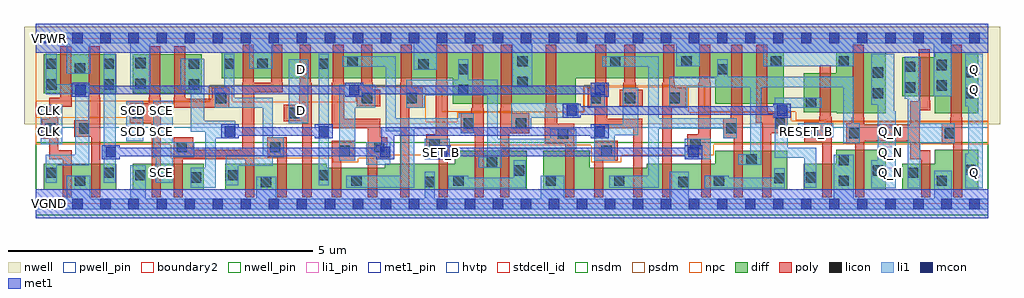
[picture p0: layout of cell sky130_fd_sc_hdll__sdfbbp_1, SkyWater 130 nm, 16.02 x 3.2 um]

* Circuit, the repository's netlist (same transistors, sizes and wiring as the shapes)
* Copyright 2020 The SkyWater PDK Authors
*
* Licensed under the Apache License, Version 2.0 (the "License");
* you may not use this file except in compliance with the License.
* You may obtain a copy of the License at
*
*     https://www.apache.org/licenses/LICENSE-2.0
*
* Unless required by applicable law or agreed to in writing, software
* distributed under the License is distributed on an "AS IS" BASIS,
* WITHOUT WARRANTIES OR CONDITIONS OF ANY KIND, either express or implied.
* See the License for the specific language governing permissions and
* limitations under the License.
*
* SPDX-License-Identifier: Apache-2.0

.SUBCKT sky130_fd_sc_hdll__sdfbbp_1 CLK D RESET_B SCD SCE SET_B VGND VNB VPB VPWR Q Q_N
*.PININFO CLK:I D:I RESET_B:I SCD:I SCE:I SET_B:I VGND:I VNB:I VPB:I
*.PININFO VPWR:I Q:O Q_N:O
MI98 net105 D n0 VNB sky130_fd_pr__nfet_01v8 m=1 w=0.42U l=0.15U mult=1 sa=0.265
+ sb=0.265 sd=0.28 area=0.525 perim=3.1
MI103 n1 SCD VGND VNB sky130_fd_pr__nfet_01v8 m=1 w=0.42U l=0.15U mult=1 sa=0.265
+ sb=0.265 sd=0.28 area=0.525 perim=3.1
MI104 n0 sceb VGND VNB sky130_fd_pr__nfet_01v8 m=1 w=0.42U l=0.15U mult=1 sa=0.265
+ sb=0.265 sd=0.28 area=0.525 perim=3.1
MI120 net105 SCE n1 VNB sky130_fd_pr__nfet_01v8 m=1 w=0.42U l=0.15U mult=1 sa=0.265
+ sb=0.265 sd=0.28 area=0.525 perim=3.1
MI46 clkpos clkneg VGND VNB sky130_fd_pr__nfet_01v8 m=1 w=0.42U l=0.15U mult=1
+ sa=0.265 sb=0.265 sd=0.28 area=0.063 perim=1.14
MI642 RESET RESET_B VGND VNB sky130_fd_pr__nfet_01v8 m=1 w=0.42U l=0.15U mult=1
+ sa=0.265 sb=0.265 sd=0.28 area=0.063 perim=1.14
MI676 M1 M0 net176 VNB sky130_fd_pr__nfet_01v8 m=1 w=0.64U l=0.15U mult=1 sa=0.265
+ sb=0.265 sd=0.28 area=0.063 perim=1.14
MI675 net176 SET_B VGND VNB sky130_fd_pr__nfet_01v8 m=1 w=0.42U l=0.15U mult=1
+ sa=0.265 sb=0.265 sd=0.28 area=0.063 perim=1.14
MI653 Q net213 VGND VNB sky130_fd_pr__nfet_01v8 m=1 w=0.65U l=0.15U mult=1 sa=0.265
+ sb=0.265 sd=0.28 area=0.063 perim=1.14
MI677 M1 RESET net176 VNB sky130_fd_pr__nfet_01v8 m=1 w=0.64U l=0.15U mult=1 sa=0.265
+ sb=0.265 sd=0.28 area=0.063 perim=1.14
MI648 M0 clkpos net160 VNB sky130_fd_pr__nfet_01v8 m=1 w=0.36U l=0.15U mult=1 sa=0.265
+ sb=0.265 sd=0.28 area=0.063 perim=1.14
MI44 clkneg CLK VGND VNB sky130_fd_pr__nfet_01v8 m=1 w=0.42U l=0.15U mult=1 sa=0.265
+ sb=0.265 sd=0.28 area=0.063 perim=1.14
MI649 net160 M1 VGND VNB sky130_fd_pr__nfet_01v8 m=1 w=0.42U l=0.15U mult=1 sa=0.265
+ sb=0.265 sd=0.28 area=0.063 perim=1.14
MI655 S0 clkneg net145 VNB sky130_fd_pr__nfet_01v8 m=1 w=0.36U l=0.15U mult=1 sa=0.265
+ sb=0.265 sd=0.28 area=0.063 perim=1.14
MI654 net145 net117 VGND VNB sky130_fd_pr__nfet_01v8 m=1 w=0.42U l=0.15U mult=1
+ sa=0.265 sb=0.265 sd=0.28 area=0.063 perim=1.14
MI651 Q_N net117 VGND VNB sky130_fd_pr__nfet_01v8 m=1 w=0.65U l=0.15U mult=1 sa=0.265
+ sb=0.265 sd=0.28 area=0.063 perim=1.14
MI652 net213 net117 VGND VNB sky130_fd_pr__nfet_01v8 m=1 w=0.42U l=0.15U mult=1
+ sa=0.265 sb=0.265 sd=0.28 area=0.063 perim=1.14
MI42 net105 clkneg M0 VNB sky130_fd_pr__nfet_01v8 m=1 w=0.36U l=0.15U mult=1 sa=0.265
+ sb=0.265 sd=0.28 area=0.063 perim=1.14
MI668 S0 clkpos net128 VNB sky130_fd_pr__nfet_01v8 m=1 w=0.36U l=0.15U mult=1 sa=0.265
+ sb=0.265 sd=0.28 area=0.063 perim=1.14
MI667 net128 M1 VGND VNB sky130_fd_pr__nfet_01v8 m=1 w=0.64U l=0.15U mult=1 sa=0.265
+ sb=0.265 sd=0.28 area=0.063 perim=1.14
MI630 net117 RESET net116 VNB sky130_fd_pr__nfet_01v8 m=1 w=0.64U l=0.15U mult=1
+ sa=0.265 sb=0.265 sd=0.28 area=0.063 perim=1.14
MI3 net117 S0 net116 VNB sky130_fd_pr__nfet_01v8 m=1 w=0.64U l=0.15U mult=1 sa=0.265
+ sb=0.265 sd=0.28 area=0.063 perim=1.14
MI7 net116 SET_B VGND VNB sky130_fd_pr__nfet_01v8 m=1 w=0.42U l=0.15U mult=1 sa=0.265
+ sb=0.265 sd=0.28 area=0.063 perim=1.14
MI639 sceb SCE VGND VNB sky130_fd_pr__nfet_01v8 m=1 w=0.42U l=0.15U mult=1 sa=0.265
+ sb=0.265 sd=0.28 area=0.063 perim=1.14
MI107 p0 SCE VPWR VPB sky130_fd_pr__pfet_01v8_hvt m=1 w=0.42U l=0.18U mult=1 sa=0.265
+ sb=0.265 sd=0.28 area=0.063 perim=1.14
MI94 net105 D p0 VPB sky130_fd_pr__pfet_01v8_hvt m=1 w=0.42U l=0.18U mult=1 sa=0.265
+ sb=0.265 sd=0.28 area=0.063 perim=1.14
MI101 net105 sceb p1 VPB sky130_fd_pr__pfet_01v8_hvt m=1 w=0.64U l=0.18U mult=1
+ sa=0.265 sb=0.265 sd=0.28 area=0.063 perim=1.14
MI108 p1 SCD VPWR VPB sky130_fd_pr__pfet_01v8_hvt m=1 w=0.64U l=0.18U mult=1 sa=0.265
+ sb=0.265 sd=0.28 area=0.063 perim=1.14
MI679 M1 SET_B VPWR VPB sky130_fd_pr__pfet_01v8_hvt m=1 w=0.42U l=0.18U mult=1
+ sa=0.265 sb=0.265 sd=0.28 area=0.063 perim=1.14
MI669 S0 clkneg net265 VPB sky130_fd_pr__pfet_01v8_hvt m=1 w=0.42U l=0.18U mult=1
+ sa=0.265 sb=0.265 sd=0.28 area=0.063 perim=1.14
MI660 Q net213 VPWR VPB sky130_fd_pr__pfet_01v8_hvt m=1 w=1.0U l=0.18U mult=1 sa=0.265
+ sb=0.265 sd=0.28 area=0.063 perim=1.14
MI9 net117 S0 net268 VPB sky130_fd_pr__pfet_01v8_hvt m=1 w=0.84U l=0.18U mult=1
+ sa=0.265 sb=0.265 sd=0.28 area=0.063 perim=1.14
MI670 net265 M1 VPWR VPB sky130_fd_pr__pfet_01v8_hvt m=1 w=0.84U l=0.18U mult=1
+ sa=0.265 sb=0.265 sd=0.28 area=0.063 perim=1.14
MI678 net216 RESET VPWR VPB sky130_fd_pr__pfet_01v8_hvt m=1 w=0.84U l=0.18U mult=1
+ sa=0.265 sb=0.265 sd=0.28 area=0.063 perim=1.14
MI662 net257 net117 VPWR VPB sky130_fd_pr__pfet_01v8_hvt m=1 w=0.42U l=0.18U mult=1
+ sa=0.265 sb=0.265 sd=0.28 area=0.063 perim=1.14
MI664 S0 clkpos net257 VPB sky130_fd_pr__pfet_01v8_hvt m=1 w=0.42U l=0.18U mult=1
+ sa=0.265 sb=0.265 sd=0.28 area=0.063 perim=1.14
MI10 net117 SET_B VPWR VPB sky130_fd_pr__pfet_01v8_hvt m=1 w=0.42U l=0.18U mult=1
+ sa=0.265 sb=0.265 sd=0.28 area=0.063 perim=1.14
MI11 net268 RESET VPWR VPB sky130_fd_pr__pfet_01v8_hvt m=1 w=0.84U l=0.18U mult=1
+ sa=0.265 sb=0.265 sd=0.28 area=0.063 perim=1.14
MI650 net241 M1 VPWR VPB sky130_fd_pr__pfet_01v8_hvt m=1 w=0.42U l=0.18U mult=1
+ sa=0.265 sb=0.265 sd=0.28 area=0.063 perim=1.14
MI43 net105 clkpos M0 VPB sky130_fd_pr__pfet_01v8_hvt m=1 w=0.42U l=0.18U mult=1
+ sa=0.265 sb=0.265 sd=0.28 area=0.063 perim=1.14
MI656 M0 clkneg net241 VPB sky130_fd_pr__pfet_01v8_hvt m=1 w=0.42U l=0.18U mult=1
+ sa=0.265 sb=0.265 sd=0.28 area=0.063 perim=1.14
MI643 RESET RESET_B VPWR VPB sky130_fd_pr__pfet_01v8_hvt m=1 w=0.64U l=0.18U mult=1
+ sa=0.265 sb=0.265 sd=0.28 area=0.063 perim=1.14
MI47 clkpos clkneg VPWR VPB sky130_fd_pr__pfet_01v8_hvt m=1 w=0.64U l=0.18U mult=1
+ sa=0.265 sb=0.265 sd=0.28 area=0.063 perim=1.14
MI45 clkneg CLK VPWR VPB sky130_fd_pr__pfet_01v8_hvt m=1 w=0.64U l=0.18U mult=1
+ sa=0.265 sb=0.265 sd=0.28 area=0.063 perim=1.14
MI680 M1 M0 net216 VPB sky130_fd_pr__pfet_01v8_hvt m=1 w=0.84U l=0.18U mult=1 sa=0.265
+ sb=0.265 sd=0.28 area=0.063 perim=1.14
MI663 net213 net117 VPWR VPB sky130_fd_pr__pfet_01v8_hvt m=1 w=0.64U l=0.18U mult=1
+ sa=0.265 sb=0.265 sd=0.28 area=0.063 perim=1.14
MI661 Q_N net117 VPWR VPB sky130_fd_pr__pfet_01v8_hvt m=1 w=1.0U l=0.18U mult=1
+ sa=0.265 sb=0.265 sd=0.28 area=0.063 perim=1.14
MI640 sceb SCE VPWR VPB sky130_fd_pr__pfet_01v8_hvt m=1 w=0.42U l=0.18U mult=1
+ sa=0.265 sb=0.265 sd=0.28 area=0.063 perim=1.14
.ENDS sky130_fd_sc_hdll__sdfbbp_1

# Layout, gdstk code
import gdstk
lib = gdstk.Library(unit=1e-6, precision=1e-09)
def R(c, l, rs):  # rectangles x0, y0, x1, y1
    for r in rs: c.add(gdstk.rectangle(r[:2], r[2:], *l))
def A(c, l, x, y, w, h, nx, ny, dx, dy):  # array of equal rectangles
    R(c, l, [(x+i*dx, y+j*dy, x+i*dx+w, y+j*dy+h) for i in range(nx) for j in range(ny)])
def P(c, l, *ps):  # polygons
    for p in ps: c.add(gdstk.Polygon(p, *l))
nwell_pin = (64, 16)
nwell = (64, 20)
diff = (65, 20)
poly = (66, 20)
licon = (66, 44)
li1_pin = (67, 16)
li1 = (67, 20)
mcon = (67, 44)
met1_pin = (68, 16)
met1 = (68, 20)
hvtp = (78, 44)
stdcell_id = (81, 4)
nsdm = (93, 44)
psdm = (94, 20)
npc = (95, 20)
pwell_pin = (122, 16)
boundary2 = (236, 0)

sky130_fd_sc_hdll__sdfbb = lib.new_cell('sky130_fd_sc_hdll__sdfbbp_1')
R(sky130_fd_sc_hdll__sdfbb, nwell_pin, [(0.145,2.635,0.315,2.805), (0.145,2.635,0.315,2.805)])
R(sky130_fd_sc_hdll__sdfbb, nwell, [(-0.19,1.305,15.83,2.91)])
R(sky130_fd_sc_hdll__sdfbb, diff, [(0.135,0.235,1.325,0.655), (1.595,0.235,2.76,0.655), (0.135,1.815,1.325,2.455), (1.595,1.815,2.725,2.455)])
P(sky130_fd_sc_hdll__sdfbb, diff, [(15.47,0.885),(14.76,0.885),(14.76,0.655),(14.225,0.655),(14.225,0.235),(15.47,0.235)],
  [(15.47,2.485),(14.76,2.485),(14.76,2.405),(14.225,2.405),(14.225,1.765),(14.76,1.765),(14.76,1.485),(15.47,1.485)],
  [(13.955,0.885),(13.14,0.885),(13.14,0.655),(12.605,0.655),(12.605,0.235),(13.955,0.235)],
  [(8.06,0.875),(6.88,0.875),(6.88,0.655),(5.73,0.655),(5.73,0.595),(4.78,0.595),(4.78,0.655),(3.115,0.655),(3.115,0.235),(8.06,0.235)],
  [(13.955,2.485),(13.14,2.485),(13.14,2.145),(12.605,2.145),(12.605,1.505),(13.15,1.505),(13.15,1.485),(13.955,1.485)],
  [(12.28,2.485),(3.055,2.485),(3.055,2.065),(6.845,2.065),(6.845,1.645),(8.87,1.645),(8.87,2.065),(11.155,2.065),(11.155,1.645),(12.28,1.645)],
  [(12.335,0.875),(11.155,0.875),(11.155,0.655),(10.035,0.655),(10.035,0.595),(9.095,0.595),(9.095,0.875),(8.33,0.875),(8.33,0.235),(12.335,0.235)])
P(sky130_fd_sc_hdll__sdfbb, poly, [(0.595,1.74),(0.585,1.74),(0.585,2.585),(0.405,2.585),(0.405,1.74),(0.225,1.74),(0.225,1.4),(0.105,1.4),(0.105,1.07),(0.225,1.07),(0.225,0.73),(0.445,0.73),(0.445,0.105),(0.595,0.105),(0.595,0.88),(0.375,0.88),(0.375,1.59),(0.595,1.59)],
  [(1.065,1.74),(1.055,1.74),(1.055,2.585),(0.875,2.585),(0.875,1.74),(0.865,1.74),(0.865,1.37),(0.635,1.37),(0.635,1.1),(0.915,1.1),(0.915,0.105),(1.065,0.105)],
  [(2.055,1.74),(2.045,1.74),(2.045,2.585),(1.865,2.585),(1.865,1.74),(1.855,1.74),(1.855,1.655),(1.545,1.655),(1.545,1.325),(1.905,1.325),(1.905,0.105),(2.055,0.105)],
  [(3.18,1.905),(2.895,1.905),(2.895,1.725),(2.465,1.725),(2.465,1.74),(2.455,1.74),(2.455,2.585),(2.275,2.585),(2.275,1.74),(2.265,1.74),(2.265,1.575),(3.18,1.575)],
  [(4.06,1.99),(4.05,1.99),(4.05,2.615),(3.87,2.615),(3.87,1.99),(3.86,1.99),(3.86,1.985),(3.59,1.985),(3.59,1.99),(3.58,1.99),(3.58,2.615),(3.4,2.615),(3.4,1.99),(3.39,1.99),(3.39,0.885),(2.585,0.885),(2.585,1.095),(2.265,1.095),(2.265,0.105),(2.415,0.105),(2.415,0.735),(3.44,0.735),(3.44,0.105),(3.59,0.105),(3.59,1.835),(4.06,1.835)],
  [(4.12,1.095),(3.8,1.095),(3.8,0.765),(3.97,0.765),(3.97,0.105),(4.12,0.105)],
  [(4.53,1.99),(4.52,1.99),(4.52,2.615),(4.34,2.615),(4.34,1.99),(4.33,1.99),(4.33,1.625),(4.075,1.625),(4.075,1.355),(4.38,1.355),(4.38,0.105),(4.53,0.105)],
  [(5.245,1.035),(4.865,1.035),(4.865,0.105),(5.015,0.105),(5.015,0.705),(5.245,0.705)],
  [(5.655,1.875),(5.535,1.875),(5.535,1.99),(5.525,1.99),(5.525,2.615),(5.345,2.615),(5.345,1.99),(5.335,1.99),(5.335,1.875),(5.275,1.875),(5.275,1.605),(5.655,1.605)],
  [(5.775,1.095),(5.655,1.095),(5.655,1.395),(5.065,1.395),(5.065,1.99),(5.055,1.99),(5.055,2.615),(4.875,2.615),(4.875,1.99),(4.865,1.99),(4.865,1.245),(5.455,1.245),(5.455,0.105),(5.605,0.105),(5.605,0.765),(5.775,0.765)],
  [(6.355,1.905),(6.185,1.905),(6.185,1.99),(6.175,1.99),(6.175,2.615),(5.995,2.615),(5.995,1.99),(5.985,1.99),(5.985,0.105),(6.135,0.105),(6.135,1.575),(6.355,1.575)],
  [(6.765,1.99),(6.755,1.99),(6.755,2.615),(6.575,2.615),(6.575,1.99),(6.565,1.99),(6.565,1.145),(6.415,1.145),(6.415,0.815),(6.615,0.815),(6.615,0.105),(6.765,0.105)],
  [(7.355,1.57),(7.345,1.57),(7.345,2.615),(7.165,2.615),(7.165,1.57),(7.155,1.57),(7.155,1.485),(6.975,1.485),(6.975,1.155),(7.205,1.155),(7.205,0.105),(7.355,0.105)],
  [(8.105,1.485),(7.825,1.485),(7.825,1.57),(7.815,1.57),(7.815,2.615),(7.635,2.615),(7.635,1.57),(7.625,1.57),(7.625,0.105),(7.775,0.105),(7.775,1.155),(8.105,1.155)],
  [(8.845,1.315),(8.56,1.315),(8.56,1.57),(8.55,1.57),(8.55,2.615),(8.37,2.615),(8.37,1.57),(8.36,1.57),(8.36,0.985),(8.695,0.985),(8.695,0.105),(8.845,0.105)],
  [(9.555,1.035),(9.17,1.035),(9.17,0.105),(9.32,0.105),(9.32,0.705),(9.555,0.705)],
  [(9.96,1.395),(9.38,1.395),(9.38,1.99),(9.37,1.99),(9.37,2.615),(9.19,2.615),(9.19,1.99),(9.18,1.99),(9.18,1.905),(9.06,1.905),(9.06,1.575),(9.18,1.575),(9.18,1.245),(9.81,1.245),(9.81,0.105),(9.96,0.105)],
  [(9.97,1.875),(9.85,1.875),(9.85,1.99),(9.84,1.99),(9.84,2.615),(9.66,2.615),(9.66,1.99),(9.65,1.99),(9.65,1.875),(9.59,1.875),(9.59,1.605),(9.97,1.605)],
  [(10.67,1.905),(10.49,1.905),(10.49,1.99),(10.48,1.99),(10.48,2.615),(10.3,2.615),(10.3,1.99),(10.29,1.99),(10.29,0.105),(10.44,0.105),(10.44,1.575),(10.67,1.575)],
  [(11.08,1.99),(11.07,1.99),(11.07,2.615),(10.89,2.615),(10.89,1.99),(10.88,1.99),(10.88,1.145),(10.695,1.145),(10.695,0.815),(10.93,0.815),(10.93,0.105),(11.08,0.105)],
  [(11.61,1.57),(11.6,1.57),(11.6,2.615),(11.42,2.615),(11.42,1.57),(11.41,1.57),(11.41,1.405),(11.29,1.405),(11.29,1.075),(11.46,1.075),(11.46,0.105),(11.61,0.105)],
  [(12.35,1.485),(12.02,1.485),(12.02,1.57),(12.01,1.57),(12.01,2.615),(11.83,2.615),(11.83,1.57),(11.82,1.57),(11.82,1.335),(11.925,1.335),(11.925,0.105),(12.075,0.105),(12.075,1.155),(12.35,1.155)],
  [(13.065,1.43),(13.055,1.43),(13.055,2.275),(12.875,2.275),(12.875,1.43),(12.865,1.43),(12.865,1.345),(12.615,1.345),(12.615,1.015),(12.915,1.015),(12.915,0.105),(13.065,0.105)],
  [(14.685,1.69),(14.675,1.69),(14.675,2.535),(14.495,2.535),(14.495,1.69),(14.485,1.69),(14.485,1.685),(14.36,1.685),(14.36,1.295),(13.6,1.295),(13.6,1.41),(13.59,1.41),(13.59,2.615),(13.41,2.615),(13.41,1.41),(13.4,1.41),(13.4,1.325),(13.305,1.325),(13.305,0.995),(13.45,0.995),(13.45,0.105),(13.6,0.105),(13.6,1.025),(14.36,1.025),(14.36,0.73),(14.535,0.73),(14.535,0.105),(14.685,0.105),(14.685,0.88),(14.51,0.88),(14.51,1.535),(14.685,1.535)],
  [(15.21,1.41),(15.2,1.41),(15.2,2.615),(15.02,2.615),(15.02,1.41),(15.01,1.41),(15.01,1.325),(14.87,1.325),(14.87,0.995),(15.06,0.995),(15.06,0.105),(15.21,0.105)])
R(sky130_fd_sc_hdll__sdfbb, licon, [(3.7,0.275,3.87,0.445), (6.385,0.275,6.555,0.445), (10.55,0.275,10.72,0.445), (0.645,0.295,0.815,0.465), (5.18,0.295,5.35,0.465), (6.855,0.295,7.025,0.465), (8.37,0.295,8.54,0.465), (9.495,0.295,9.665,0.465), (11.13,0.295,11.3,0.465), (13.18,0.295,13.35,0.465), (14.79,0.295,14.96,0.465), (12.125,0.335,12.295,0.505), (2.55,0.345,2.72,0.515), (12.645,0.345,12.815,0.515), (1.635,0.385,1.805,0.555), (3.155,0.385,3.325,0.555), (4.645,0.385,4.815,0.555), (0.175,0.425,0.345,0.595), (1.115,0.425,1.285,0.595), (14.315,0.425,14.485,0.595), (7.85,0.465,8.02,0.635), (13.745,0.465,13.915,0.635), (15.26,0.475,15.43,0.645), (7.405,0.595,7.575,0.765), (13.18,0.635,13.35,0.805), (11.665,0.645,11.835,0.815), (4.985,0.785,5.155,0.955), (9.285,0.785,9.455,0.955), (2.315,0.845,2.485,1.015), (3.85,0.845,4.02,1.015), (5.555,0.845,5.725,1.015), (6.465,0.895,6.635,1.065), (10.745,0.895,10.915,1.065), (8.575,1.065,8.745,1.235), (13.355,1.075,13.525,1.245), (14.92,1.075,15.09,1.245), (12.665,1.095,12.835,1.265), (0.155,1.15,0.325,1.32), (0.715,1.15,0.885,1.32), (11.34,1.155,11.51,1.325), (7.025,1.235,7.195,1.405), (7.885,1.235,8.055,1.405), (12.13,1.235,12.3,1.405), (1.595,1.405,1.765,1.575), (4.155,1.405,4.325,1.575), (12.645,1.575,12.815,1.745), (2.96,1.655,3.13,1.825), (5.355,1.655,5.525,1.825), (6.085,1.655,6.255,1.825), (9.11,1.655,9.28,1.825), (9.67,1.655,9.84,1.825), (10.4,1.655,10.57,1.825), (13.745,1.73,13.915,1.9), (15.26,1.735,15.43,1.905), (6.935,1.785,7.105,1.955), (14.265,1.825,14.435,1.995), (14.79,1.855,14.96,2.025), (0.175,1.875,0.345,2.045), (1.115,1.875,1.285,2.045), (2.515,1.875,2.685,2.045), (1.635,1.885,1.805,2.055), (7.905,1.915,8.075,2.085), (13.745,2.07,13.915,2.24), (15.26,2.075,15.43,2.245), (6.935,2.125,7.105,2.295), (11.19,2.125,11.36,2.295), (0.645,2.135,0.815,2.305), (14.265,2.165,14.435,2.335), (14.79,2.195,14.96,2.365), (6.285,2.205,6.455,2.375), (0.175,2.215,0.345,2.385), (1.115,2.215,1.285,2.385), (2.515,2.215,2.685,2.385), (3.095,2.215,3.265,2.385), (3.64,2.215,3.81,2.385), (4.645,2.215,4.815,2.385), (1.635,2.225,1.805,2.395), (5.115,2.25,5.285,2.42), (9.43,2.25,9.6,2.42), (7.905,2.255,8.075,2.425), (10.6,2.255,10.77,2.425), (12.07,2.255,12.24,2.425), (13.18,2.255,13.35,2.425)])
A(sky130_fd_sc_hdll__sdfbb, li1_pin, 13.945, 0.425, 0.17, 0.17, 1, 3, 0, 0.34)
R(sky130_fd_sc_hdll__sdfbb, li1_pin, [(0.145,-0.085,0.315,0.085), (1.985,0.425,2.155,0.595), (15.325,0.425,15.495,0.595), (0.145,1.105,0.315,1.275), (1.525,1.105,1.695,1.275), (1.985,1.105,2.155,1.275), (12.565,1.105,12.735,1.275), (0.145,1.445,0.315,1.615), (1.525,1.445,1.695,1.615), (1.985,1.445,2.155,1.615), (4.285,1.445,4.455,1.615), (15.325,1.785,15.495,1.955), (4.285,2.125,4.455,2.295), (15.325,2.125,15.495,2.295), (0.145,2.635,0.315,2.805)])
R(sky130_fd_sc_hdll__sdfbb, li1, [(4.645,0.305,4.815,2.465), (1.115,0.345,1.32,2.465), (5.425,0.645,5.825,1.015), (6.385,0.735,6.795,1.065), (10.655,0.735,11.08,1.065), (0.085,0.975,0.435,1.625), (1.49,1.025,1.765,1.685), (12.515,1.095,13.09,1.325), (4.155,1.325,4.475,2.375), (9.11,1.575,9.345,1.985)])
P(sky130_fd_sc_hdll__sdfbb, li1, [(0.885,1.965),(0.345,1.965),(0.345,2.465),(0.17,2.465),(0.17,1.795),(0.655,1.795),(0.655,0.805),(0.17,0.805),(0.17,0.345),(0.345,0.345),(0.345,0.635),(0.885,0.635)],
  [(15.64,0.085),(15.04,0.085),(15.04,0.545),(14.75,0.545),(14.75,0.085),(13.43,0.085),(13.43,0.805),(13.1,0.805),(13.1,0.085),(10.72,0.085),(10.72,0.525),(10.41,0.525),(10.41,0.085),(8.675,0.085),(8.675,0.465),(8.29,0.465),(8.29,0.085),(6.555,0.085),(6.555,0.525),(6.385,0.525),(6.385,0.085),(3.95,0.085),(3.95,0.445),(3.62,0.445),(3.62,0.085),(1.805,0.085),(1.805,0.635),(1.555,0.635),(1.555,0.085),(0.895,0.085),(0.895,0.465),(0.515,0.465),(0.515,0.085),(0,0.085),(0,-0.085),(15.64,-0.085)],
  [(15.64,2.805),(0,2.805),(0,2.635),(0.515,2.635),(0.515,2.135),(0.895,2.135),(0.895,2.635),(1.555,2.635),(1.555,1.885),(1.885,1.885),(1.885,2.635),(3.51,2.635),(3.51,2.215),(3.89,2.215),(3.89,2.635),(6.205,2.635),(6.205,2.205),(6.585,2.205),(6.585,2.635),(7.825,2.635),(7.825,1.915),(8.155,1.915),(8.155,2.635),(10.52,2.635),(10.52,2.255),(10.9,2.255),(10.9,2.635),(11.94,2.635),(11.94,2.255),(13.43,2.255),(13.43,2.635),(14.745,2.635),(14.745,1.765),(15.04,1.765),(15.04,2.635),(15.64,2.635)],
  [(15.545,2.465),(15.26,2.465),(15.26,1.605),(15.31,1.605),(15.31,0.825),(15.26,0.825),(15.26,0.255),(15.545,0.255)],
  [(15.09,1.325),(14.52,1.325),(14.52,2.415),(14.265,2.415),(14.265,1.725),(14.315,1.725),(14.315,0.255),(14.52,0.255),(14.52,0.995),(15.09,0.995)],
  [(2.605,1.015),(2.255,1.015),(2.255,1.695),(1.935,1.695),(1.935,0.76),(1.975,0.76),(1.975,0.345),(2.255,0.345),(2.255,0.765),(2.605,0.765)],
  [(3.275,1.365),(2.765,1.365),(2.765,2.385),(2.385,2.385),(2.385,1.875),(2.55,1.875),(2.55,1.185),(2.785,1.185),(2.785,0.595),(2.55,0.595),(2.55,0.265),(2.955,0.265),(2.955,1.075),(3.275,1.075)],
  [(4.07,1.095),(3.895,1.095),(3.895,1.745),(3.265,1.745),(3.265,2.465),(3.095,2.465),(3.095,1.905),(2.945,1.905),(2.945,1.575),(3.725,1.575),(3.725,0.795),(3.125,0.795),(3.125,0.305),(3.325,0.305),(3.325,0.625),(3.895,0.625),(3.895,0.765),(4.07,0.765)],
  [(5.575,1.955),(4.985,1.955),(4.985,0.705),(5.245,0.705),(5.245,1.575),(5.575,1.575)],
  [(13.525,1.325),(13.43,1.325),(13.43,2.085),(11.36,2.085),(11.36,2.375),(11.19,2.375),(11.19,2.085),(10.4,2.085),(10.4,1.575),(10.7,1.575),(10.7,1.915),(11.73,1.915),(11.73,0.815),(11.535,0.815),(11.535,0.645),(11.915,0.645),(11.915,1.915),(13.26,1.915),(13.26,0.995),(13.525,0.995)],
  [(7.195,1.485),(6.945,1.485),(6.945,1.405),(5.915,1.405),(5.915,2.42),(5.035,2.42),(5.035,2.25),(5.745,2.25),(5.745,1.195),(5.995,1.195),(5.995,0.465),(5.1,0.465),(5.1,0.265),(6.215,0.265),(6.215,1.235),(6.975,1.235),(6.975,1.155),(7.195,1.155)],
  [(14.115,1.52),(14.095,1.52),(14.095,2.465),(13.715,2.465),(13.715,1.63),(13.82,1.63),(13.82,0.715),(13.715,0.715),(13.715,0.255),(14.115,0.255)],
  [(8.045,0.715),(7.85,0.715),(7.85,0.425),(7.105,0.425),(7.105,0.465),(6.775,0.465),(6.775,0.255),(8.045,0.255)],
  [(8.875,1.235),(8.445,1.235),(8.445,1.065),(7.585,1.065),(7.585,2.035),(7.105,2.035),(7.105,2.375),(6.935,2.375),(6.935,2.035),(6.085,2.035),(6.085,1.575),(6.385,1.575),(6.385,1.785),(7.415,1.785),(7.415,0.765),(7.275,0.765),(7.275,0.595),(7.655,0.595),(7.655,0.895),(8.875,0.895)],
  [(8.91,1.655),(7.805,1.655),(7.805,1.235),(8.135,1.235),(8.135,1.415),(8.91,1.415)],
  [(12.3,0.585),(12.125,0.585),(12.125,0.425),(11.38,0.425),(11.38,0.465),(10.98,0.465),(10.98,0.255),(12.3,0.255)],
  [(9.89,1.905),(9.635,1.905),(9.635,1.305),(9.17,1.305),(9.17,0.705),(9.51,0.705),(9.51,1.125),(9.89,1.125)],
  [(11.51,1.405),(10.23,1.405),(10.23,2.42),(9.3,2.42),(9.3,2.25),(10.06,2.25),(10.06,0.465),(9.415,0.465),(9.415,0.265),(10.23,0.265),(10.23,1.235),(11.29,1.235),(11.29,1.075),(11.51,1.075)],
  [(12.905,1.745),(12.13,1.745),(12.13,0.755),(12.615,0.755),(12.615,0.265),(12.815,0.265),(12.815,0.925),(12.345,0.925),(12.345,1.575),(12.905,1.575)])
A(sky130_fd_sc_hdll__sdfbb, mcon, 0.145, -0.085, 0.17, 0.17, 34, 2, 0.46, 2.72)
R(sky130_fd_sc_hdll__sdfbb, mcon, [(1.15,0.765,1.32,0.935), (5.655,0.765,5.825,0.935), (6.585,0.765,6.755,0.935), (10.715,0.765,10.885,0.935), (3.105,1.105,3.275,1.275), (4.645,1.105,4.815,1.275), (9.175,1.105,9.345,1.275), (8.715,1.445,8.885,1.615), (12.165,1.445,12.335,1.615), (0.655,1.785,0.825,1.955), (5.145,1.785,5.315,1.955), (9.175,1.785,9.345,1.955)])
R(sky130_fd_sc_hdll__sdfbb, met1_pin, [(0.145,-0.085,0.315,0.085), (6.585,0.765,6.755,0.935), (0.145,2.635,0.315,2.805)])
R(sky130_fd_sc_hdll__sdfbb, met1, [(0,-0.24,15.64,0.24), (0,2.48,15.64,2.96)])
P(sky130_fd_sc_hdll__sdfbb, met1, [(4.875,1.305),(4.585,1.305),(4.585,1.26),(3.335,1.26),(3.335,1.305),(3.045,1.305),(3.045,1.075),(3.335,1.075),(3.335,1.12),(4.585,1.12),(4.585,1.075),(4.875,1.075)],
  [(9.405,1.985),(9.115,1.985),(9.115,1.94),(5.375,1.94),(5.375,1.985),(5.085,1.985),(5.085,1.94),(0.885,1.94),(0.885,1.985),(0.595,1.985),(0.595,1.755),(0.885,1.755),(0.885,1.8),(5.085,1.8),(5.085,1.755),(5.375,1.755),(5.375,1.8),(9.115,1.8),(9.115,1.755),(9.405,1.755)],
  [(9.405,1.305),(9.115,1.305),(9.115,1.26),(5.67,1.26),(5.67,0.965),(5.595,0.965),(5.595,0.92),(1.38,0.92),(1.38,0.965),(1.09,0.965),(1.09,0.735),(1.38,0.735),(1.38,0.78),(5.595,0.78),(5.595,0.735),(5.885,0.735),(5.885,1.12),(9.115,1.12),(9.115,1.075),(9.405,1.075)],
  [(10.945,0.965),(10.655,0.965),(10.655,0.92),(6.815,0.92),(6.815,0.965),(6.525,0.965),(6.525,0.735),(6.815,0.735),(6.815,0.78),(10.655,0.78),(10.655,0.735),(10.945,0.735)],
  [(12.395,1.645),(12.105,1.645),(12.105,1.6),(8.945,1.6),(8.945,1.645),(8.655,1.645),(8.655,1.415),(8.945,1.415),(8.945,1.46),(12.105,1.46),(12.105,1.415),(12.395,1.415)])
R(sky130_fd_sc_hdll__sdfbb, hvtp, [(0,1.25,15.64,2.72)])
R(sky130_fd_sc_hdll__sdfbb, stdcell_id, [(0,0,15.64,2.72)])
R(sky130_fd_sc_hdll__sdfbb, nsdm, [(0,-0.19,15.64,1.015)])
P(sky130_fd_sc_hdll__sdfbb, psdm, [(15.64,2.91),(0,2.91),(0,1.685),(2.85,1.685),(2.85,1.935),(6.665,1.935),(6.665,1.515),(9,1.515),(9,1.935),(10.975,1.935),(10.975,1.515),(12.48,1.515),(12.48,1.375),(12.985,1.375),(12.985,1.355),(15.64,1.355)])
P(sky130_fd_sc_hdll__sdfbb, npc, [(15.64,1.345),(12.935,1.345),(12.935,1.365),(12.4,1.365),(12.4,1.505),(10.72,1.505),(10.72,1.925),(9.01,1.925),(9.01,1.505),(6.925,1.505),(6.925,1.345),(6.405,1.345),(6.405,1.925),(5.255,1.925),(5.255,1.675),(3.23,1.675),(3.23,1.925),(2.86,1.925),(2.86,1.675),(1.495,1.675),(1.495,1.42),(0,1.42),(0,0.975),(2.215,0.975),(2.215,0.745),(4.875,0.745),(4.875,0.685),(5.295,0.685),(5.295,0.745),(5.825,0.745),(5.825,0.795),(6.785,0.795),(6.785,0.965),(9.12,0.965),(9.12,0.685),(9.61,0.685),(9.61,0.795),(11.13,0.795),(11.13,0.975),(15.64,0.975)])
R(sky130_fd_sc_hdll__sdfbb, pwell_pin, [(0.145,-0.085,0.315,0.085), (0.145,-0.085,0.315,0.085)])
R(sky130_fd_sc_hdll__sdfbb, boundary2, [(0,0,15.64,2.72)])
sky130_fd_sc_hdll__sdfbb.add(gdstk.Label('SCD', (1.61,1.53), layer=67, texttype=5))
sky130_fd_sc_hdll__sdfbb.add(gdstk.Label('SCD', (1.61,1.19), layer=67, texttype=5))
sky130_fd_sc_hdll__sdfbb.add(gdstk.Label('SCE', (2.07,1.53), layer=67, texttype=5))
sky130_fd_sc_hdll__sdfbb.add(gdstk.Label('SCE', (2.07,1.19), layer=67, texttype=5))
sky130_fd_sc_hdll__sdfbb.add(gdstk.Label('SCE', (2.07,0.51), layer=67, texttype=5))
sky130_fd_sc_hdll__sdfbb.add(gdstk.Label('RESET_B', (12.65,1.19), layer=67, texttype=5))
sky130_fd_sc_hdll__sdfbb.add(gdstk.Label('VGND', (0.23,0), layer=67, texttype=5))
sky130_fd_sc_hdll__sdfbb.add(gdstk.Label('CLK', (0.23,1.19), layer=67, texttype=5))
sky130_fd_sc_hdll__sdfbb.add(gdstk.Label('CLK', (0.23,1.53), layer=67, texttype=5))
sky130_fd_sc_hdll__sdfbb.add(gdstk.Label('Q', (15.41,0.51), layer=67, texttype=5))
sky130_fd_sc_hdll__sdfbb.add(gdstk.Label('Q', (15.41,1.87), layer=67, texttype=5))
sky130_fd_sc_hdll__sdfbb.add(gdstk.Label('Q', (15.41,2.21), layer=67, texttype=5))
sky130_fd_sc_hdll__sdfbb.add(gdstk.Label('VPWR', (0.23,2.72), layer=67, texttype=5))
sky130_fd_sc_hdll__sdfbb.add(gdstk.Label('D', (4.37,1.53), layer=67, texttype=5))
sky130_fd_sc_hdll__sdfbb.add(gdstk.Label('D', (4.37,2.21), layer=67, texttype=5))
sky130_fd_sc_hdll__sdfbb.add(gdstk.Label('Q_N', (14.03,1.19), layer=67, texttype=5))
sky130_fd_sc_hdll__sdfbb.add(gdstk.Label('Q_N', (14.03,0.85), layer=67, texttype=5))
sky130_fd_sc_hdll__sdfbb.add(gdstk.Label('Q_N', (14.03,0.51), layer=67, texttype=5))
sky130_fd_sc_hdll__sdfbb.add(gdstk.Label('VGND', (0.23,0), layer=68, texttype=5))
sky130_fd_sc_hdll__sdfbb.add(gdstk.Label('VPWR', (0.23,2.72), layer=68, texttype=5))
sky130_fd_sc_hdll__sdfbb.add(gdstk.Label('SET_B', (6.67,0.85), layer=68, texttype=5))
sky130_fd_sc_hdll__sdfbb.add(gdstk.Label('VPB', (0.23,2.72), layer=64, texttype=5))
sky130_fd_sc_hdll__sdfbb.add(gdstk.Label('VPB', (0.23,2.72), layer=64, texttype=5))
sky130_fd_sc_hdll__sdfbb.add(gdstk.Label('VNB', (0.23,0), layer=64, texttype=59))
sky130_fd_sc_hdll__sdfbb.add(gdstk.Label('VNB', (0.23,0), layer=64, texttype=59))
sky130_fd_sc_hdll__sdfbb.add(gdstk.Label('sdfbbp_1', (0,0), layer=83, texttype=44))

lib.write_gds('sky130_fd_sc_hdll__sdfbbp_1.gds')
